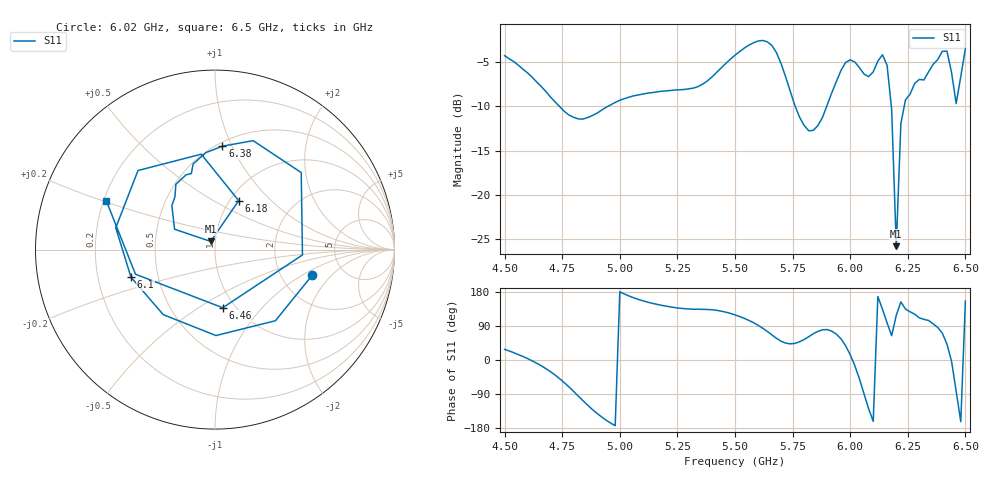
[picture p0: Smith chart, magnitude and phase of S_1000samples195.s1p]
! TOUCHSTONE file generated by CST MICROWAVE STUDIO
! Date and time: Thu Oct 27 08:15:16 2022
! Project name: L.cst
! Parameters = {Di=1.27; Epsilon_r=1.56; InnerDiameter=1.27; Length=2; Lf=10; Lg=60; OuterConductorThickness=0.2921; OuterDiameter=3.6; Wf=3; Wp=41.2; de=1.5; df=6.8; g=0.8; gx=2.42918; gy=0.637167; h=2.34; hf=1.524; px=13.3175; py=12.8182; w=9.7; wx=10.8883; wy=12.1811}
! Header version: 2018
! Port assignment regex: !\s*Touchstone port\s*([0-9]+)\s*=\s*(CST MWS port|CST DS port)\s*([0-9]+|Zmin|Zmax)\s*\(\"(.*)\"\)(\s*mode\s*([0-9]+))?.*
! Touchstone port assignment:
! Touchstone port 1 = CST MWS port 1 ("")
# GHz S DB R 50
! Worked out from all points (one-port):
!   101 points, 4.5 GHz to 6.5 GHz, reference 50 ohm
!   lowest |S11| = -25.8 dB at 6.2 GHz (marker M1), VSWR 1.11, Z = 47.5 + j4.34 ohm
!   |S11| at or under -10 dB: 4.737 GHz to 4.95 GHz (213.4 MHz wide, 4.41 % of centre); 5.761 GHz to 5.898 GHz (137.5 MHz wide, 2.36 % of centre); 6.179 GHz to 6.235 GHz (56.21 MHz wide, 0.906 % of centre)
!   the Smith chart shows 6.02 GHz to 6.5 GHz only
!   S11 on the Smith chart (normalised r, x): 6.02 GHz: 2.97, -1.24; 6.1 GHz: 0.35, -0.14; 6.18 GHz: 1.10, +0.66; 6.38 GHz: 0.53, +0.92; 6.46 GHz: 0.88, -0.63; 6.5 GHz: 0.21, +0.21
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4.5  -4.32 28.0
4.76  -10.61 -60.4
5  -9.34 180.0
5.26  -8.16 136.6
5.5  -4.28 119.0
5.62  -2.62 84.0
5.68  -3.99 57.3
5.76  -9.94 43.9
5.82  -12.78 61.4
5.9  -9.89 80.3
5.96  -5.99 55.9
6  -4.79 14.0
6.02  -5.04 -14.8
6.06  -6.40 -89.4
6.1  -6.15 -161.8
6.12  -4.94 167.6
6.14  -4.22 134.2
6.16  -5.40 98.2
6.18  -10.37 64.2
6.2  -25.75 117.9
6.22  -11.97 153.3
6.26  -8.64 127.1
6.38  -4.77 85.9
6.42  -3.82 41.8
6.44  -6.23 -3.5
6.46  -9.72 -82.4
6.48  -6.67 -162.8
6.5  -3.54 155.7
